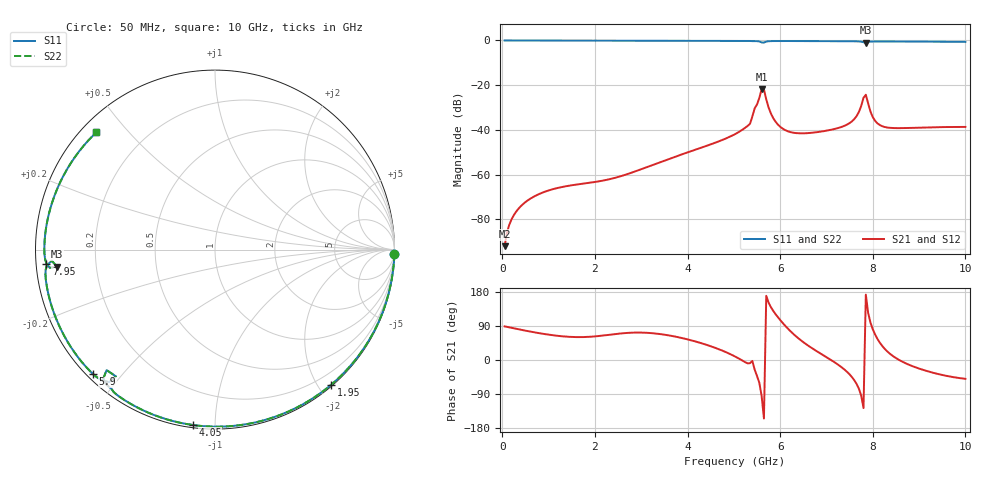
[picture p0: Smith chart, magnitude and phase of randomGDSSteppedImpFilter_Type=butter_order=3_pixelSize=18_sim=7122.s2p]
! freq	dB(S11)	phase(S11)	dB(S12)	phase(S12)
!  dB(S21)	phase(S21)	dB(S22)	phase(S22)
!S-par simulation data
#  GHz  S  DB  R 50
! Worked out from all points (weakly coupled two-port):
!   200 points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, 50 MHz to 10 GHz, reference 50 ohm
!   highest |S21| = -21.84 dB at 5.6 GHz (marker M1); lowest = -92.0 dB at 50 MHz (marker M2)
!   lowest |S11| = -1.0 dB at 7.85 GHz (marker M3), VSWR 16.67, Z = 3.01 - j2.67 ohm
!   |S11| at or under -10 dB: nowhere
!   |S22| runs from -1.1 to 0.0 dB; largest |S21 - S12| = 0
!   S11 on the Smith chart (normalised r, x): 50 MHz: 0, -88; 1.95 GHz: 0.02, -2.18; 4.05 GHz: 0.01, -0.88; 5.9 GHz: 0.02, -0.42; 7.95 GHz: 0.03, -0.04; 10 GHz: 0.04, +0.41
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0.05  -0.00 -1.3  -92.00 88.7  -92.00 88.7  -0.00 -1.3
0.2  -0.01 -5.2  -80.01 84.9  -80.01 84.9  -0.01 -5.2
0.8  -0.03 -20.6  -68.63 70.7  -68.63 70.7  -0.03 -20.6
1.75  -0.06 -44.3  -64.03 60.5  -64.03 60.5  -0.06 -44.3
1.95  -0.06 -49.2  -63.45 61.8  -63.45 61.8  -0.06 -49.2
3.4  -0.11 -83.0  -54.49 68.6  -54.49 68.6  -0.11 -83.0
4.05  -0.13 -97.3  -49.72 52.9  -49.72 52.9  -0.13 -97.3
5.05  -0.18 -118.6  -41.64 7.7  -41.64 7.7  -0.18 -118.6
5.35  -0.23 -125.5  -37.24 -8.3  -37.24 -8.3  -0.23 -125.5
5.6  -0.88 -132.0  -21.84 -94.8  -21.84 -94.8  -0.89 -132.0
5.65  -0.95 -128.0  -21.95 -154.4  -21.95 -154.4  -0.95 -128.0
5.75  -0.34 -130.3  -29.98 151.5  -29.98 151.5  -0.35 -130.4
5.9  -0.26 -134.3  -36.31 121.1  -36.31 121.1  -0.26 -134.4
6.2  -0.26 -140.9  -40.86 78.6  -40.86 78.6  -0.26 -140.9
6.7  -0.29 -151.3  -41.25 30.2  -41.25 30.2  -0.29 -151.3
7.5  -0.36 -168.1  -36.95 -38.1  -36.95 -38.1  -0.36 -168.2
7.65  -0.41 -171.7  -33.85 -63.0  -33.85 -63.0  -0.41 -171.8
7.85  -1.04 -173.9  -24.28 172.4  -24.28 172.4  -1.05 -173.9
7.95  -0.51 -175.3  -31.79 98.7  -31.79 98.7  -0.52 -175.3
8.1  -0.44 -179.3  -37.06 55.8  -37.06 55.8  -0.44 -179.3
8.35  -0.45 174.9  -39.03 18.6  -39.03 18.6  -0.45 174.9
10  -0.63 135.3  -38.68 -49.7  -38.68 -49.7  -0.63 135.3
